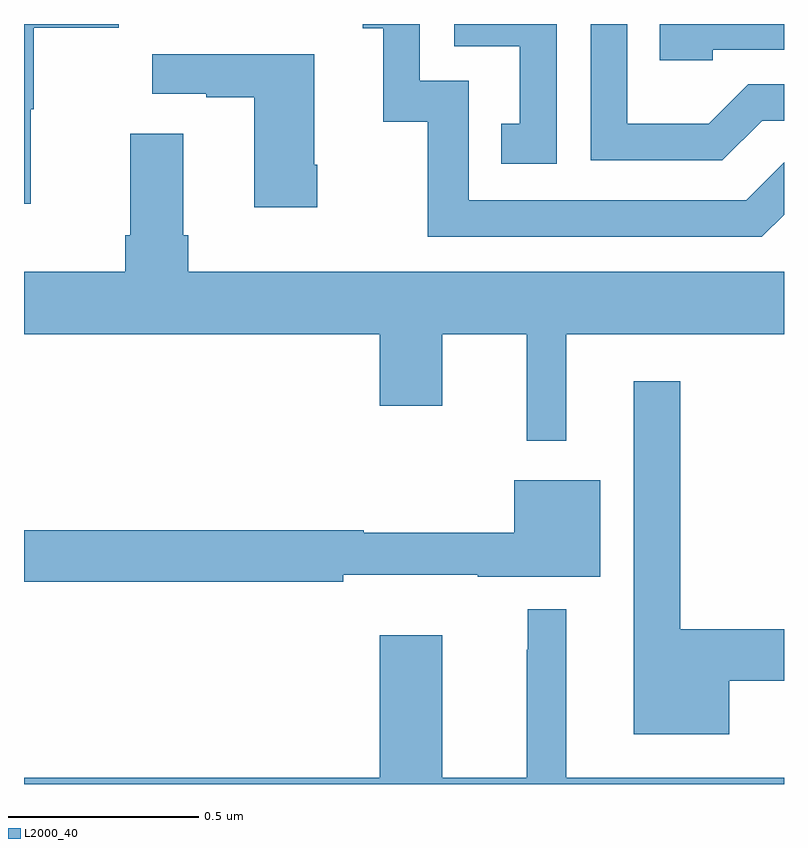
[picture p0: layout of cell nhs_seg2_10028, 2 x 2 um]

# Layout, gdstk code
import gdstk
lib = gdstk.Library(unit=1e-6, precision=1e-09)
def P(c, l, *ps):  # polygons
    for p in ps: c.add(gdstk.Polygon(p, *l))
L2000_40 = (2000, 40)

nhs_seg2_10028 = lib.new_cell('nhs_seg2_10028')
P(nhs_seg2_10028, L2000_40, [(237.402,633.8),(237.132,633.8),(237.132,633.741),(237.305,633.741),(237.305,633.537),(237.256,633.537),(237.256,633.432),(237.402,633.432)],
  [(237.943,633.546),(238,633.546),(238,633.642),(237.906,633.642),(237.802,633.538),(237.588,633.538),(237.588,633.8),(237.492,633.8),(237.492,633.441),(237.838,633.441)],
  [(236.018,633.576),(236.026,633.576),(236.026,633.79),(236.249,633.79),(236.249,633.8),(236,633.8),(236,633.327),(236.018,633.327)],
  [(237.813,633.732),(238,633.732),(238,633.8),(237.673,633.8),(237.673,633.705),(237.813,633.705)],
  [(238,633.298),(238,633.436),(237.9,633.336),(237.171,633.336),(237.171,633.651),(237.042,633.651),(237.042,633.8),(236.892,633.8),(236.892,633.789),(236.945,633.789),(236.945,633.543),(237.063,633.543),(237.063,633.24),(237.942,633.24)],
  [(236.772,633.43),(236.764,633.43),(236.764,633.721),(236.337,633.721),(236.337,633.617),(236.48,633.617),(236.48,633.607),(236.606,633.607),(236.606,633.318),(236.772,633.318)],
  [(237.427,632.984),(238,632.984),(238,633.148),(236.432,633.148),(236.432,633.244),(236.419,633.244),(236.419,633.511),(236.279,633.511),(236.279,633.244),(236.267,633.244),(236.267,633.148),(236,633.148),(236,632.984),(236.936,632.984),(236.936,632.796),(237.1,632.796),(237.1,632.984),(237.323,632.984),(237.323,632.703),(237.427,632.703)],
  [(237.856,632.072),(238,632.072),(238,632.207),(237.727,632.207),(237.727,632.86),(237.605,632.86),(237.605,631.931),(237.856,631.931)],
  [(236.84,632.351),(237.194,632.351),(237.194,632.345),(237.517,632.345),(237.517,632.599),(237.29,632.599),(237.29,632.461),(236.894,632.461),(236.894,632.468),(236,632.468),(236,632.332),(236.84,632.332)],
  [(238,631.816),(237.427,631.816),(237.427,632.26),(237.325,632.26),(237.325,632.153),(237.323,632.153),(237.323,631.816),(237.1,631.816),(237.1,632.191),(236.936,632.191),(236.936,631.816),(236,631.816),(236,631.8),(238,631.8)])

lib.write_gds('nhs_seg2_10028.gds')
